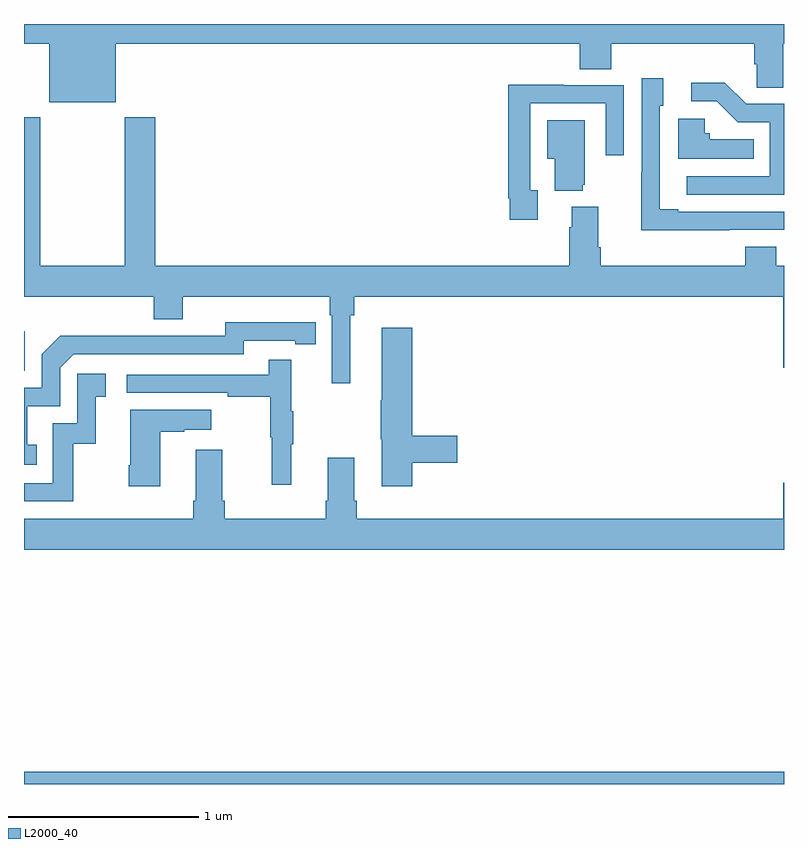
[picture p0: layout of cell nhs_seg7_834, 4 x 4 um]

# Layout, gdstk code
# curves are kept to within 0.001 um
import gdstk
lib = gdstk.Library(unit=1e-6, precision=1e-09)
def R(c, l, rs):  # rectangles x0, y0, x1, y1
    for r in rs: c.add(gdstk.rectangle(r[:2], r[2:], *l))
def P(c, l, *ps):  # polygons
    for p in ps: c.add(gdstk.Polygon(p, *l))
L2000_40 = (2000, 40)

nhs_seg7_834 = lib.new_cell('nhs_seg7_834')
R(nhs_seg7_834, L2000_40, [(173,1050,177,1050.064), (173,1052.175,173.004,1052.383)])
P(nhs_seg7_834, L2000_40, [(173.482,1053.896),(175.925,1053.896),(175.925,1053.763),(176.09,1053.763),(176.09,1053.896),(176.843,1053.896),(176.843,1053.787),(176.856,1053.787),(176.856,1053.664),(176.995,1053.664),(176.995,1053.896),(177,1053.896),(177,1054),(173,1054),(173,1053.896),(173.132,1053.896),(173.132,1053.587),(173.482,1053.587)],
  [(176.711,1052.916),(177,1052.916),(177,1053.012),(176.443,1053.012),(176.443,1053.025),(176.346,1053.025),(176.346,1053.57),(176.365,1053.57),(176.365,1053.715),(176.25,1053.715),(176.25,1053.221),(176.248,1053.221),(176.248,1052.915),(176.711,1052.915)],
  [(177,1053.579),(176.802,1053.579),(176.689,1053.692),(176.511,1053.692),(176.511,1053.594),(176.645,1053.594),(176.756,1053.483),(176.925,1053.483),(176.925,1053.198),(176.487,1053.198),(176.487,1053.102),(177,1053.102)],
  [(175.705,1053.126),(175.665,1053.126),(175.665,1053.582),(176.061,1053.582),(176.061,1053.309),(176.157,1053.309),(176.157,1053.678),(175.841,1053.678),(175.841,1053.68),(175.549,1053.68),(175.549,1053.082),(175.557,1053.082),(175.557,1052.97),(175.705,1052.97)],
  [(174.718,1052.468),(174.737,1052.468),(174.737,1052.564),(176.996,1052.564),(176.996,1052.19),(177,1052.19),(177,1052.728),(176.96,1052.728),(176.96,1052.827),(176.795,1052.827),(176.795,1052.728),(176.036,1052.728),(176.036,1052.824),(176.023,1052.824),(176.023,1053.037),(175.883,1053.037),(175.883,1052.93),(175.871,1052.93),(175.871,1052.728),(173.69,1052.728),(173.69,1053.508),(173.53,1053.508),(173.53,1052.728),(173.085,1052.728),(173.085,1053.508),(173,1053.508),(173,1052.564),(173.684,1052.564),(173.684,1052.447),(173.836,1052.447),(173.836,1052.564),(174.608,1052.564),(174.608,1052.468),(174.621,1052.468),(174.621,1052.109),(174.718,1052.109)],
  [(176.84,1053.394),(176.61,1053.394),(176.61,1053.426),(176.583,1053.426),(176.583,1053.502),(176.444,1053.502),(176.444,1053.29),(176.84,1053.29)],
  [(175.94,1053.153),(175.951,1053.153),(175.951,1053.493),(175.754,1053.493),(175.754,1053.29),(175.793,1053.29),(175.793,1053.122),(175.94,1053.122)],
  [(173.066,1051.785),(173.017,1051.785),(173.017,1051.989),(173.19,1051.989),(173.19,1052.19),(173.262,1052.262),(174.156,1052.262),(174.156,1052.334),(174.428,1052.334),(174.428,1052.314),(174.536,1052.314),(174.536,1052.43),(174.06,1052.431),(174.06,1052.358),(173.6,1052.358),(173.6,1052.36),(173.192,1052.36),(173.094,1052.262),(173.094,1052.085),(173,1052.085),(173,1051.68),(173.066,1051.68)],
  [(175.043,1051.69),(175.279,1051.69),(175.279,1051.832),(175.043,1051.832),(175.043,1052.401),(174.884,1052.401),(174.884,1052.021),(174.877,1052.021),(174.877,1051.815),(174.884,1051.815),(174.884,1051.566),(175.043,1051.566)],
  [(174.407,1051.787),(174.418,1051.787),(174.418,1051.961),(174.407,1051.961),(174.407,1052.233),(174.289,1052.233),(174.289,1052.154),(173.541,1052.154),(173.541,1052.058),(174.073,1052.058),(174.073,1052.038),(174.297,1052.038),(174.297,1051.824),(174.304,1051.824),(174.304,1051.575),(174.407,1051.575)],
  [(173.26,1051.791),(173.378,1051.791),(173.378,1052.037),(173.431,1052.037),(173.431,1052.158),(173.28,1052.158),(173.28,1051.899),(173.151,1051.899),(173.151,1051.584),(173,1051.584),(173,1051.488),(173.26,1051.488)],
  [(173.716,1051.855),(173.843,1051.855),(173.843,1051.865),(173.986,1051.865),(173.986,1051.969),(173.558,1051.969),(173.558,1051.678),(173.551,1051.678),(173.551,1051.566),(173.716,1051.566)],
  [(177,1051.585),(176.996,1051.585),(176.996,1051.396),(174.752,1051.396),(174.752,1051.492),(174.739,1051.492),(174.739,1051.717),(174.599,1051.717),(174.599,1051.492),(174.587,1051.492),(174.587,1051.396),(174.056,1051.396),(174.056,1051.492),(174.043,1051.492),(174.043,1051.759),(173.903,1051.759),(173.903,1051.492),(173.891,1051.492),(173.891,1051.396),(173,1051.396),(173,1051.232),(177,1051.232)])

lib.write_gds('nhs_seg7_834.gds')
